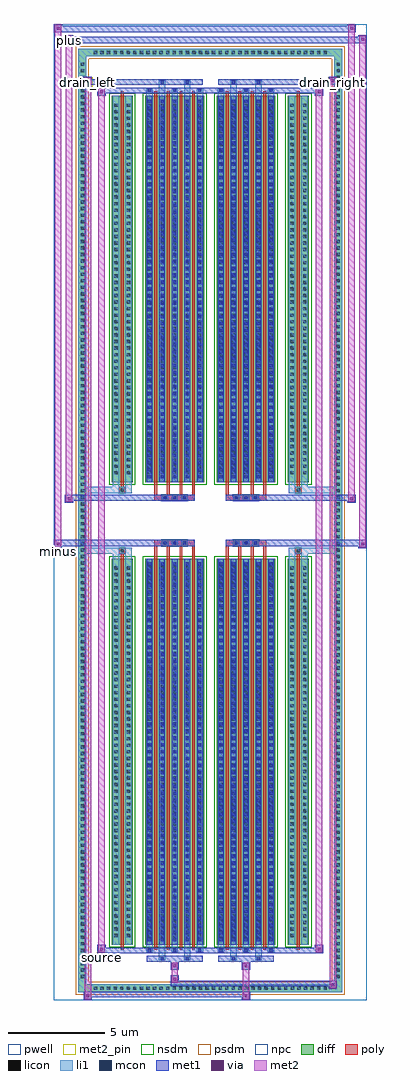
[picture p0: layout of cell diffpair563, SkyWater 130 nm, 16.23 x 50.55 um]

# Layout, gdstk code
import gdstk
lib = gdstk.Library(unit=1e-6, precision=5e-09)
def R(c, l, rs):  # rectangles x0, y0, x1, y1
    for r in rs: c.add(gdstk.rectangle(r[:2], r[2:], *l))
def A(c, l, x, y, w, h, nx, ny, dx, dy):  # array of equal rectangles
    R(c, l, [(x+i*dx, y+j*dy, x+i*dx+w, y+j*dy+h) for i in range(nx) for j in range(ny)])
def P(c, l, *ps):  # polygons
    for p in ps: c.add(gdstk.Polygon(p, *l))
pwell = (64, 44)
diff = (65, 20)
poly = (66, 20)
licon = (66, 44)
li1 = (67, 20)
mcon = (67, 44)
met1 = (68, 20)
via = (68, 44)
met2_pin = (69, 16)
met2 = (69, 20)
nsdm = (93, 44)
psdm = (94, 20)
npc = (95, 20)

diffpair563 = lib.new_cell('diffpair563')
R(diffpair563, pwell, [(-8.1,-24.84,8.1,25.71), (-5.42,-23.03,-0.01,-0.805), (0.01,-23.03,5.42,-0.805), (-5.42,0.805,-0.01,23.03), (0.01,0.805,5.42,23.03)])
A(diffpair563, diff, -6.155, -24.44, 0.41, 0.41, 36, 2, 0.34, 48.47)
A(diffpair563, diff, -6.83, -23.835, 0.41, 0.41, 1, 140, 0, 0.34)
A(diffpair563, diff, 6.42, -23.835, 0.41, 0.41, 1, 140, 0, 0.34)
R(diffpair563, diff, [(-6.155,-24.44,6.155,-24.03), (-6.83,-23.835,-6.42,23.835), (6.42,-23.835,6.83,23.835), (-5.11,-21.985,-4.01,-1.985), (-3.37,-21.985,-0.32,-1.985), (0.32,-21.985,3.37,-1.985), (4.01,-21.985,5.11,-1.985), (-5.11,1.985,-4.01,21.985), (-3.37,1.985,-0.32,21.985), (0.32,1.985,3.37,21.985), (4.01,1.985,5.11,21.985), (-6.155,24.03,6.155,24.44)])
P(diffpair563, diff, [(6.83,24.44),(-6.83,24.44),(-6.83,-24.03),(-6.42,-24.03),(-6.42,24.03),(6.42,24.03),(6.42,-24.03),(-6.42,-24.03),(-6.83,-24.03),(-6.83,-24.44),(6.83,-24.44)])
A(diffpair563, poly, -2.895, -22.235, 0.15, 20.5, 4, 2, 0.65, 23.97)
A(diffpair563, poly, 0.795, -22.235, 0.15, 20.5, 4, 2, 0.65, 23.97)
A(diffpair563, poly, -2.895, -1.735, 0.15, 0.4, 4, 2, 0.65, 3.07)
A(diffpair563, poly, 0.795, -1.735, 0.15, 0.4, 4, 2, 0.65, 3.07)
A(diffpair563, poly, -2.51, -1.335, 0.33, 0.33, 3, 2, 0.5, 2.34)
A(diffpair563, poly, 1.18, -1.335, 0.33, 0.33, 3, 2, 0.5, 2.34)
R(diffpair563, poly, [(-4.635,-22.235,-4.485,-1.735), (4.485,-22.235,4.635,-1.735), (-4.725,-1.735,-4.395,-1.405), (-4.725,-1.735,-4.395,-1.405), (4.395,-1.735,4.725,-1.405), (4.395,-1.735,4.725,-1.405), (-2.895,-1.335,-0.795,-1.005), (0.795,-1.335,2.895,-1.005), (-2.895,1.005,-0.795,1.335), (0.795,1.005,2.895,1.335), (-4.725,1.405,-4.395,1.735), (-4.725,1.405,-4.395,1.735), (4.395,1.405,4.725,1.735), (4.395,1.405,4.725,1.735), (-4.635,1.735,-4.485,22.235), (4.485,1.735,4.635,22.235)])
A(diffpair563, licon, -6.035, -24.32, 0.17, 0.17, 36, 2, 0.34, 48.47)
A(diffpair563, licon, -6.71, -23.715, 0.17, 0.17, 1, 140, 0, 0.34)
A(diffpair563, licon, 6.54, -23.715, 0.17, 0.17, 1, 140, 0, 0.34)
A(diffpair563, licon, -4.97, -21.59, 0.17, 0.17, 1, 57, 0, 0.34)
A(diffpair563, licon, -4.32, -21.59, 0.17, 0.17, 1, 57, 0, 0.34)
A(diffpair563, licon, -3.23, -21.59, 0.17, 0.17, 5, 57, 0.65, 0.34)
A(diffpair563, licon, 0.46, -21.59, 0.17, 0.17, 5, 57, 0.65, 0.34)
A(diffpair563, licon, 4.15, -21.59, 0.17, 0.17, 1, 57, 0, 0.34)
A(diffpair563, licon, 4.8, -21.59, 0.17, 0.17, 1, 57, 0, 0.34)
A(diffpair563, licon, -2.43, -1.255, 0.17, 0.17, 3, 2, 0.5, 2.34)
A(diffpair563, licon, 1.26, -1.255, 0.17, 0.17, 3, 2, 0.5, 2.34)
A(diffpair563, licon, -4.97, 2.38, 0.17, 0.17, 1, 57, 0, 0.34)
A(diffpair563, licon, -4.32, 2.38, 0.17, 0.17, 1, 57, 0, 0.34)
A(diffpair563, licon, -3.23, 2.38, 0.17, 0.17, 5, 57, 0.65, 0.34)
A(diffpair563, licon, 0.46, 2.38, 0.17, 0.17, 5, 57, 0.65, 0.34)
A(diffpair563, licon, 4.15, 2.38, 0.17, 0.17, 1, 57, 0, 0.34)
A(diffpair563, licon, 4.8, 2.38, 0.17, 0.17, 1, 57, 0, 0.34)
R(diffpair563, licon, [(-4.645,-1.655,-4.475,-1.485), (4.475,-1.655,4.645,-1.485), (-4.645,1.485,-4.475,1.655), (4.475,1.485,4.645,1.655)])
A(diffpair563, li1, -6.115, -24.4, 0.33, 0.33, 36, 2, 0.34, 48.47)
A(diffpair563, li1, -6.79, -23.795, 0.33, 0.33, 1, 140, 0, 0.34)
A(diffpair563, li1, 6.46, -23.795, 0.33, 0.33, 1, 140, 0, 0.34)
A(diffpair563, li1, -3.31, -22.36, 0.33, 0.375, 3, 2, 1.3, 44.345)
A(diffpair563, li1, -3.23, -22.36, 0.17, 0.17, 3, 2, 1.3, 44.55)
A(diffpair563, li1, 0.38, -22.36, 0.33, 0.375, 3, 2, 1.3, 44.345)
A(diffpair563, li1, 0.46, -22.36, 0.17, 0.17, 3, 2, 1.3, 44.55)
A(diffpair563, li1, -3.31, -21.985, 0.33, 20, 5, 2, 0.65, 23.97)
A(diffpair563, li1, 0.38, -21.985, 0.33, 20, 5, 2, 0.65, 23.97)
A(diffpair563, li1, -3.23, -21.79, 0.17, 0.17, 5, 55, 0.65, 0.36)
A(diffpair563, li1, -3.23, -21.79, 0.17, 19.61, 5, 2, 0.65, 23.97)
A(diffpair563, li1, 0.46, -21.79, 0.17, 0.17, 5, 55, 0.65, 0.36)
A(diffpair563, li1, 0.46, -21.79, 0.17, 19.61, 5, 2, 0.65, 23.97)
A(diffpair563, li1, -5.05, -21.67, 0.33, 0.33, 1, 57, 0, 0.34)
A(diffpair563, li1, -4.4, -21.67, 0.33, 0.33, 1, 57, 0, 0.34)
A(diffpair563, li1, -3.31, -21.67, 0.33, 0.33, 5, 57, 0.65, 0.34)
A(diffpair563, li1, 0.38, -21.67, 0.33, 0.33, 5, 57, 0.65, 0.34)
A(diffpair563, li1, 4.07, -21.67, 0.33, 0.33, 1, 57, 0, 0.34)
A(diffpair563, li1, 4.72, -21.67, 0.33, 0.33, 1, 57, 0, 0.34)
A(diffpair563, li1, -2.51, -1.335, 0.33, 0.33, 3, 2, 0.5, 2.34)
A(diffpair563, li1, 1.18, -1.335, 0.33, 0.33, 3, 2, 0.5, 2.34)
A(diffpair563, li1, -3.23, 2.18, 0.17, 0.17, 5, 55, 0.65, 0.36)
A(diffpair563, li1, 0.46, 2.18, 0.17, 0.17, 5, 55, 0.65, 0.36)
A(diffpair563, li1, -5.05, 2.3, 0.33, 0.33, 1, 57, 0, 0.34)
A(diffpair563, li1, -4.4, 2.3, 0.33, 0.33, 1, 57, 0, 0.34)
A(diffpair563, li1, -3.31, 2.3, 0.33, 0.33, 5, 57, 0.65, 0.34)
A(diffpair563, li1, 0.38, 2.3, 0.33, 0.33, 5, 57, 0.65, 0.34)
A(diffpair563, li1, 4.07, 2.3, 0.33, 0.33, 1, 57, 0, 0.34)
A(diffpair563, li1, 4.72, 2.3, 0.33, 0.33, 1, 57, 0, 0.34)
R(diffpair563, li1, [(-6.83,-24.44,-6.42,-24.03), (-6.83,-24.44,-6.42,-24.03), (-6.42,-24.44,6.42,-24.03), (6.42,-24.44,6.83,-24.03), (6.42,-24.44,6.83,-24.03), (-6.83,-24.03,-6.42,24.03), (6.42,-24.03,6.83,24.03), (-2.66,-22.79,-2.33,-21.985), (-2.58,-22.79,-2.41,-22.62), (-1.36,-22.79,-1.03,-21.985), (-1.28,-22.79,-1.11,-22.62), (1.03,-22.79,1.36,-21.985), (1.11,-22.79,1.28,-22.62), (2.33,-22.79,2.66,-21.985), (2.41,-22.79,2.58,-22.62), (-5.05,-21.985,-4.72,-1.985), (-4.4,-21.985,-4.07,-1.985), (4.07,-21.985,4.4,-1.985), (4.72,-21.985,5.05,-1.985), (-5.05,-1.985,-4.72,-1.405), (-4.4,-1.985,-4.07,-1.405), (4.07,-1.985,4.4,-1.405), (4.72,-1.985,5.05,-1.405), (-6.83,-1.735,-4.725,-1.405), (-5.05,-1.735,-4.725,-1.405), (-4.725,-1.735,-4.395,-1.405), (-4.395,-1.735,-4.07,-1.405), (4.07,-1.735,4.395,-1.405), (4.395,-1.735,4.725,-1.405), (4.395,-1.735,6.83,-1.405), (4.725,-1.735,5.05,-1.405), (-6.83,1.405,-4.725,1.735), (-5.05,1.405,-4.725,1.735), (-5.05,1.405,-4.72,1.985), (-4.725,1.405,-4.395,1.735), (-4.4,1.405,-4.07,1.985), (-4.395,1.405,-4.07,1.735), (4.07,1.405,4.395,1.735), (4.07,1.405,4.4,1.985), (4.395,1.405,4.725,1.735), (4.395,1.405,6.83,1.735), (4.72,1.405,5.05,1.985), (4.725,1.405,5.05,1.735), (-5.05,1.985,-4.72,21.985), (-4.4,1.985,-4.07,21.985), (4.07,1.985,4.4,21.985), (4.72,1.985,5.05,21.985), (-2.66,21.985,-2.33,22.79), (-1.36,21.985,-1.03,22.79), (1.03,21.985,1.36,22.79), (2.33,21.985,2.66,22.79), (-2.58,22.62,-2.41,22.79), (-1.28,22.62,-1.11,22.79), (1.11,22.62,1.28,22.79), (2.41,22.62,2.58,22.79), (-6.83,24.03,-6.42,24.44), (-6.83,24.03,-6.42,24.44), (-6.42,24.03,6.42,24.44), (6.42,24.03,6.83,24.44), (6.42,24.03,6.83,24.44)])
A(diffpair563, mcon, -3.23, -22.36, 0.17, 0.17, 3, 2, 1.3, 44.55)
A(diffpair563, mcon, 0.46, -22.36, 0.17, 0.17, 3, 2, 1.3, 44.55)
A(diffpair563, mcon, -3.23, -21.79, 0.17, 0.17, 5, 55, 0.65, 0.36)
A(diffpair563, mcon, 0.46, -21.79, 0.17, 0.17, 5, 55, 0.65, 0.36)
A(diffpair563, mcon, -2.43, -1.255, 0.17, 0.17, 3, 2, 0.5, 2.34)
A(diffpair563, mcon, 1.26, -1.255, 0.17, 0.17, 3, 2, 0.5, 2.34)
A(diffpair563, mcon, -3.23, 2.18, 0.17, 0.17, 5, 55, 0.65, 0.36)
A(diffpair563, mcon, 0.46, 2.18, 0.17, 0.17, 5, 55, 0.65, 0.36)
R(diffpair563, mcon, [(-2.58,-22.79,-2.41,-22.62), (-1.28,-22.79,-1.11,-22.62), (1.11,-22.79,1.28,-22.62), (2.41,-22.79,2.58,-22.62), (-2.58,22.62,-2.41,22.79), (-1.28,22.62,-1.11,22.79), (1.11,22.62,1.28,22.79), (2.41,22.62,2.58,22.79)])
A(diffpair563, met1, -3.29, -22.42, 0.29, 0.29, 3, 2, 1.3, 44.55)
A(diffpair563, met1, 0.4, -22.42, 0.29, 0.29, 3, 2, 1.3, 44.55)
A(diffpair563, met1, -3.29, -21.985, 0.29, 20, 5, 2, 0.65, 23.97)
A(diffpair563, met1, 0.4, -21.985, 0.29, 20, 5, 2, 0.65, 23.97)
A(diffpair563, met1, -3.29, -21.85, 0.29, 0.29, 5, 55, 0.65, 0.36)
A(diffpair563, met1, 0.4, -21.85, 0.29, 0.29, 5, 55, 0.65, 0.36)
A(diffpair563, met1, -2.49, -1.315, 0.29, 0.29, 3, 2, 0.5, 2.34)
A(diffpair563, met1, 1.2, -1.315, 0.29, 0.29, 3, 2, 0.5, 2.34)
A(diffpair563, met1, -3.29, 2.12, 0.29, 0.29, 5, 55, 0.65, 0.36)
A(diffpair563, met1, 0.4, 2.12, 0.29, 0.29, 5, 55, 0.65, 0.36)
R(diffpair563, met1, [(-6.56,-24.84,-6.13,-24.41), (1.63,-24.84,2.06,-24.41), (-6.56,-24.7,2.06,-24.41), (6.13,-24.27,6.56,-23.84), (-2.06,-24.13,6.56,-23.84), (-2.06,-23.99,-1.63,-23.56), (-2.06,-23.28,-1.63,-22.85), (1.63,-23.28,2.06,-22.85), (-3.29,-22.85,-0.4,-22.56), (-2.64,-22.85,-2.35,-22.56), (-1.34,-22.85,-1.05,-22.56), (0.4,-22.85,3.29,-22.56), (1.05,-22.85,1.34,-22.56), (2.35,-22.85,2.64,-22.56), (-5.85,-22.42,-5.42,-21.99), (-5.85,-22.42,-3.29,-22.13), (-3.29,-22.42,-0.4,-22.13), (-0.4,-22.42,0.4,-22.13), (0.4,-22.42,3.29,-22.13), (3.29,-22.42,5.85,-22.13), (5.42,-22.42,5.85,-21.99), (-8.1,-1.435,-7.67,-1.005), (7.67,-1.435,8.1,-1.005), (-8.1,-1.335,-0.795,-1.005), (-2.895,-1.335,-0.795,-1.005), (0.795,-1.335,2.895,-1.005), (0.795,-1.335,8.1,-1.005), (-7.53,0.905,-7.1,1.335), (7.1,0.905,7.53,1.335), (-7.53,1.005,-2.895,1.335), (-2.895,1.005,-0.795,1.335), (0.795,1.005,2.895,1.335), (2.895,1.005,7.53,1.335), (-5.85,21.99,-5.42,22.42), (5.42,21.99,5.85,22.42), (-5.85,22.13,-3.29,22.42), (-3.29,22.13,-0.4,22.42), (-0.4,22.13,0.4,22.42), (0.4,22.13,3.29,22.42), (3.29,22.13,5.85,22.42), (-6.56,22.56,-6.13,22.99), (-6.56,22.56,-3.29,22.85), (-3.29,22.56,-0.4,22.85), (-2.64,22.56,-2.35,22.85), (-1.34,22.56,-1.05,22.85), (0.4,22.56,3.29,22.85), (1.05,22.56,1.34,22.85), (2.35,22.56,2.64,22.85), (3.29,22.56,6.56,22.85), (6.13,22.56,6.56,22.99), (-7.53,24.71,-7.1,25.14), (-7.53,24.71,-5.42,25.04), (-5.42,24.71,5.42,25.04), (5.42,24.71,8.1,25.04), (7.67,24.71,8.1,25.14), (-8.1,25.28,-7.67,25.71), (-8.1,25.28,-5.42,25.61), (-5.42,25.28,5.42,25.61), (5.42,25.28,7.53,25.61), (7.1,25.28,7.53,25.71)])
R(diffpair563, via, [(-6.42,-24.7,-6.27,-24.55), (1.77,-24.7,1.92,-24.55), (6.27,-24.13,6.42,-23.98), (-1.92,-23.85,-1.77,-23.7), (-1.92,-23.14,-1.77,-22.99), (1.77,-23.14,1.92,-22.99), (-5.71,-22.28,-5.56,-22.13), (5.56,-22.28,5.71,-22.13), (-7.96,-1.295,-7.81,-1.145), (7.81,-1.295,7.96,-1.145), (-7.39,1.045,-7.24,1.195), (7.24,1.045,7.39,1.195), (-5.71,22.13,-5.56,22.28), (5.56,22.13,5.71,22.28), (-6.42,22.7,-6.27,22.85), (6.27,22.7,6.42,22.85), (-7.39,24.85,-7.24,25), (7.81,24.85,7.96,25), (-7.96,25.42,-7.81,25.57), (7.24,25.42,7.39,25.57)])
R(diffpair563, met2_pin, [(-5.885,-22.87,-5.385,-22.37), (-8.135,-1.885,-7.635,-1.385), (-6.595,22.44,-6.095,22.94), (6.095,22.44,6.595,22.94), (-7.565,24.59,-7.065,25.09)])
R(diffpair563, met2, [(-6.51,-24.79,-6.18,-24.46), (-6.51,-24.79,-6.18,22.94), (1.68,-24.79,2.01,-24.46), (1.68,-24.46,2.01,-23.23), (6.18,-24.22,6.51,-23.89), (6.18,-24.22,6.51,22.94), (-2.01,-23.94,-1.68,-23.61), (-2.01,-23.61,-1.68,-23.23), (-2.01,-23.23,-1.68,-22.9), (1.68,-23.23,2.01,-22.9), (-5.8,-22.37,-5.47,-22.04), (-5.8,-22.37,-5.47,22.37), (5.47,-22.37,5.8,-22.04), (5.47,-22.37,5.8,22.37), (-8.05,-1.385,-7.72,-1.055), (-8.05,-1.385,-7.72,25.66), (7.72,-1.385,8.05,-1.055), (7.72,-1.385,8.05,25.09), (-7.48,0.955,-7.15,1.285), (-7.48,0.955,-7.15,25.09), (7.15,0.955,7.48,1.285), (7.15,0.955,7.48,25.66), (-5.8,22.04,-5.47,22.37), (5.47,22.04,5.8,22.37), (-6.51,22.61,-6.18,22.94), (6.18,22.61,6.51,22.94), (-7.48,24.76,-7.15,25.09), (7.72,24.76,8.05,25.09), (-8.05,25.33,-7.72,25.66), (7.15,25.33,7.48,25.66)])
P(diffpair563, met2, [(8.05,-1.385),(8.05,-1.385),(8.05,-1.055),(8.05,-1.055)],
  [(8.05,24.76),(8.05,24.76),(8.05,25.09),(8.05,25.09)],
  [(-7.72,-1.385),(-7.72,-1.385),(-7.72,-1.055),(-7.72,-1.055)],
  [(-7.72,25.33),(-7.72,25.33),(-7.72,25.66),(-7.72,25.66)],
  [(7.48,0.955),(7.48,0.955),(7.48,1.285),(7.48,1.285)],
  [(7.48,25.33),(7.48,25.33),(7.48,25.66),(7.48,25.66)],
  [(-7.15,0.955),(-7.15,0.955),(-7.15,1.285),(-7.15,1.285)],
  [(-7.15,24.76),(-7.15,24.76),(-7.15,25.09),(-7.15,25.09)],
  [(-6.18,-24.79),(-6.18,-24.79),(-6.18,-24.46),(-6.18,-24.46)],
  [(-6.18,22.61),(-6.18,22.61),(-6.18,22.94),(-6.18,22.94)],
  [(6.51,-24.22),(6.51,-24.22),(6.51,-23.89),(6.51,-23.89)],
  [(6.51,22.61),(6.51,22.61),(6.51,22.94),(6.51,22.94)],
  [(-5.47,-22.37),(-5.47,-22.37),(-5.47,-22.04),(-5.47,-22.04)],
  [(-5.47,22.04),(-5.47,22.04),(-5.47,22.37),(-5.47,22.37)],
  [(5.8,-22.37),(5.8,-22.37),(5.8,-22.04),(5.8,-22.04)],
  [(5.8,22.04),(5.8,22.04),(5.8,22.37),(5.8,22.37)])
R(diffpair563, nsdm, [(-5.24,-22.115,-3.88,-1.855), (-3.5,-22.115,-0.19,-1.855), (0.19,-22.115,3.5,-1.855), (3.88,-22.115,5.24,-1.855), (-5.24,1.855,-3.88,22.115), (-3.5,1.855,-0.19,22.115), (0.19,1.855,3.5,22.115), (3.88,1.855,5.24,22.115)])
P(diffpair563, psdm, [(6.96,24.57),(-6.96,24.57),(-6.96,-23.9),(-6.29,-23.9),(-6.29,23.9),(6.29,23.9),(6.29,-23.9),(-6.29,-23.9),(-6.96,-23.9),(-6.96,-24.57),(6.96,-24.57)])
A(diffpair563, npc, -2.53, -1.355, 0.37, 0.37, 3, 2, 0.5, 2.34)
A(diffpair563, npc, 1.16, -1.355, 0.37, 0.37, 3, 2, 0.5, 2.34)
R(diffpair563, npc, [(-4.745,-1.755,-4.375,-1.385), (4.375,-1.755,4.745,-1.385), (-2.53,-1.355,-1.66,-0.985), (-2.53,-1.355,-1.66,-0.985), (-2.03,-1.355,-1.16,-0.985), (-2.03,-1.355,-1.16,-0.985), (1.16,-1.355,2.03,-0.985), (1.16,-1.355,2.03,-0.985), (1.66,-1.355,2.53,-0.985), (1.66,-1.355,2.53,-0.985), (-2.53,0.985,-1.66,1.355), (-2.53,0.985,-1.66,1.355), (-2.03,0.985,-1.16,1.355), (-2.03,0.985,-1.16,1.355), (1.16,0.985,2.03,1.355), (1.16,0.985,2.03,1.355), (1.66,0.985,2.53,1.355), (1.66,0.985,2.53,1.355), (-4.745,1.385,-4.375,1.755), (4.375,1.385,4.745,1.755)])
diffpair563.add(gdstk.Label('minus', (-7.885,-1.635), layer=69, texttype=5))
diffpair563.add(gdstk.Label('drain_right', (6.345,22.69), layer=69, texttype=5))
diffpair563.add(gdstk.Label('drain_left', (-6.345,22.69), layer=69, texttype=5))
diffpair563.add(gdstk.Label('source', (-5.635,-22.62), layer=69, texttype=5))
diffpair563.add(gdstk.Label('plus', (-7.315,24.84), layer=69, texttype=5))

lib.write_gds('diffpair563.gds')
